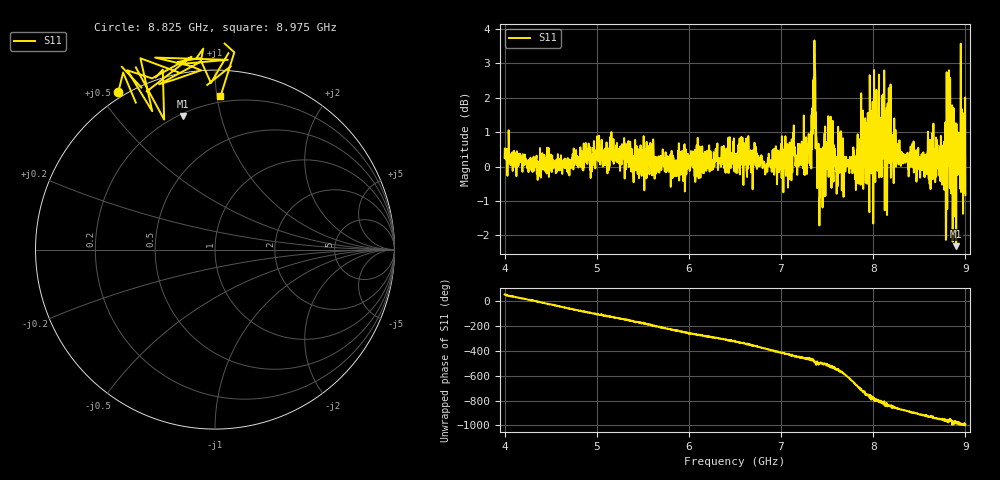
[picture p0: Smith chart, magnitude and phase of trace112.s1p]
! Created with skrf 1.8.0 (http://scikit-rf.org).
# Hz S RI R 50.0
!freq ReS11 ImS11
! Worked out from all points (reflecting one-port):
!   1601 points, 4 GHz to 9 GHz, reference 50 ohm
!   lowest |S11| = -2.3 dB at 8.9 GHz (marker M1), VSWR 7.56, Z = 10.6 + j38.3 ohm
!   phase of S11 starts at 54 deg and turns -1045 deg over the sweep
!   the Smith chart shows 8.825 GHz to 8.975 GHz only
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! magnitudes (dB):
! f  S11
! 4 GHz  0.3
! 4.625 GHz  -0.2
! 5.25 GHz  0.1
! 5.875 GHz  -0.1
! 6.5 GHz  0.1
! 7.125 GHz  0.7
! 7.303 GHz  0.6
! 7.356 GHz  2.6
! 7.388 GHz  0.7
! 7.4 GHz  0.2
! 7.438 GHz  -0.6
! 7.512 GHz  1.5
! 7.566 GHz  -0.1
! 7.75 GHz  0.2
! 7.891 GHz  -0.6
! 7.981 GHz  0.7
! 7.988 GHz  1.6
! 8.097 GHz  1.1
! 8.15 GHz  -1.4
! 8.178 GHz  2.0
! 8.216 GHz  0.9
! 8.375 GHz  0.3
! 8.759 GHz  -0.4
! 8.766 GHz  0.5
! 8.834 GHz  2.6
! 8.9 GHz  -2.3
! 8.972 GHz  0.9
! 9 GHz  -0.8
